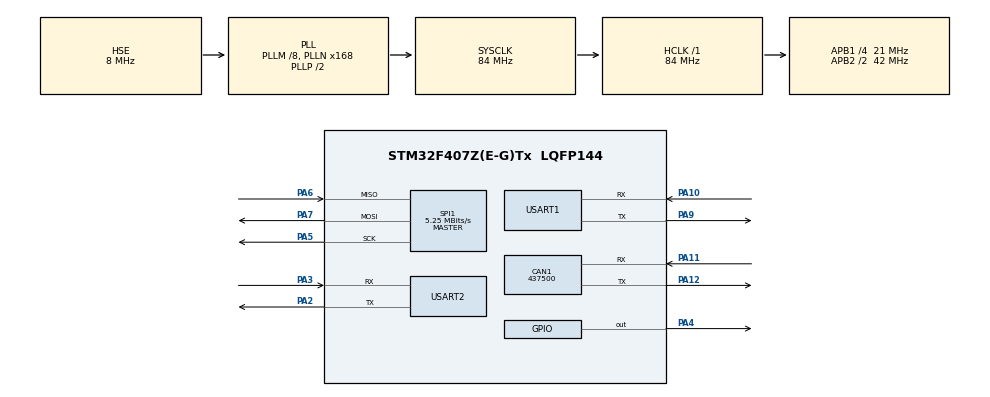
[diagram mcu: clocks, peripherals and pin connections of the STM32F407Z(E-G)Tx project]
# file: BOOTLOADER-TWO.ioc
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CAN1.CalculateBaudRate=437500
CAN1.CalculateTimeBit=2285
CAN1.CalculateTimeQuantum=761.9047619047619
Dma.Request0=SPI1_RX
Dma.Request1=SPI1_TX
Dma.Request2=USART1_RX
Dma.SPI1_RX.0.Direction=DMA_PERIPH_TO_MEMORY
Dma.SPI1_RX.0.FIFOMode=DMA_FIFOMODE_DISABLE
Dma.SPI1_RX.0.Instance=DMA2_Stream0
Dma.SPI1_RX.0.MemDataAlignment=DMA_MDATAALIGN_BYTE
Dma.SPI1_RX.0.MemInc=DMA_MINC_ENABLE
Dma.SPI1_RX.0.Mode=DMA_NORMAL
Dma.SPI1_RX.0.PeriphDataAlignment=DMA_PDATAALIGN_BYTE
Dma.SPI1_RX.0.PeriphInc=DMA_PINC_DISABLE
Dma.SPI1_RX.0.Priority=DMA_PRIORITY_LOW
Dma.SPI1_TX.1.Direction=DMA_MEMORY_TO_PERIPH
Dma.SPI1_TX.1.FIFOMode=DMA_FIFOMODE_DISABLE
Dma.SPI1_TX.1.Instance=DMA2_Stream3
Dma.SPI1_TX.1.MemDataAlignment=DMA_MDATAALIGN_BYTE
Dma.SPI1_TX.1.MemInc=DMA_MINC_ENABLE
Dma.SPI1_TX.1.Mode=DMA_NORMAL
Dma.SPI1_TX.1.PeriphDataAlignment=DMA_PDATAALIGN_BYTE
Dma.SPI1_TX.1.PeriphInc=DMA_PINC_DISABLE
Dma.SPI1_TX.1.Priority=DMA_PRIORITY_LOW
Dma.USART1_RX.2.Direction=DMA_PERIPH_TO_MEMORY
Dma.USART1_RX.2.FIFOMode=DMA_FIFOMODE_ENABLE
Dma.USART1_RX.2.FIFOThreshold=DMA_FIFO_THRESHOLD_3QUARTERSFULL
Dma.USART1_RX.2.Instance=DMA2_Stream2
Dma.USART1_RX.2.MemBurst=DMA_MBURST_SINGLE
Dma.USART1_RX.2.MemDataAlignment=DMA_MDATAALIGN_BYTE
Dma.USART1_RX.2.MemInc=DMA_MINC_ENABLE
Dma.USART1_RX.2.Mode=DMA_NORMAL
Dma.USART1_RX.2.PeriphBurst=DMA_PBURST_SINGLE
Dma.USART1_RX.2.PeriphDataAlignment=DMA_PDATAALIGN_BYTE
Dma.USART1_RX.2.PeriphInc=DMA_PINC_DISABLE
Dma.USART1_RX.2.Priority=DMA_PRIORITY_LOW
Mcu.Family=STM32F4
Mcu.Name=STM32F407Z(E-G)Tx
Mcu.Package=LQFP144
NVIC.CAN1_RX0_IRQn=true\:0\:0\:false\:false\:true\:true\:true\:true
NVIC.DMA2_Stream0_IRQn=true\:0\:0\:false\:false\:true\:false\:true\:true
NVIC.DMA2_Stream2_IRQn=true\:0\:0\:false\:false\:true\:false\:true\:true
NVIC.DMA2_Stream3_IRQn=true\:0\:0\:false\:false\:true\:false\:true\:true
NVIC.PriorityGroup=NVIC_PRIORITYGROUP_4
PA10.Mode=Asynchronous
PA10.Signal=USART1_RX
PA11.Mode=CAN_Activate
PA11.Signal=CAN1_RX
PA12.Mode=CAN_Activate
PA12.Signal=CAN1_TX
PA13.Mode=Serial_Wire
PA13.Signal=SYS_JTMS-SWDIO
PA14.Mode=Serial_Wire
PA14.Signal=SYS_JTCK-SWCLK
PA2.Mode=Asynchronous
PA2.Signal=USART2_TX
PA3.Mode=Asynchronous
PA3.Signal=USART2_RX
PA4.Signal=GPIO_Output
PA5.Mode=Full_Duplex_Master
PA5.Signal=SPI1_SCK
PA6.Mode=Full_Duplex_Master
PA6.Signal=SPI1_MISO
PA7.Mode=Full_Duplex_Master
PA7.Signal=SPI1_MOSI
PA9.Mode=Asynchronous
PA9.Signal=USART1_TX
PC14-OSC32_IN.Mode=LSE-External-Oscillator
PC14-OSC32_IN.Signal=RCC_OSC32_IN
PC15-OSC32_OUT.Mode=LSE-External-Oscillator
PC15-OSC32_OUT.Signal=RCC_OSC32_OUT
PH0-OSC_IN.Mode=HSE-External-Oscillator
PH0-OSC_IN.Signal=RCC_OSC_IN
PH1-OSC_OUT.Mode=HSE-External-Oscillator
PH1-OSC_OUT.Signal=RCC_OSC_OUT
ProjectManager.HeapSize=0x200
ProjectManager.StackSize=0x400
ProjectManager.TargetToolchain=MDK-ARM V5.32
RCC.48MHZClocksFreq_Value=42000000
RCC.AHBFreq_Value=84000000
RCC.APB1CLKDivider=RCC_HCLK_DIV4
RCC.APB1Freq_Value=21000000
RCC.APB1TimFreq_Value=42000000
RCC.APB2CLKDivider=RCC_HCLK_DIV2
RCC.APB2Freq_Value=42000000
RCC.APB2TimFreq_Value=84000000
RCC.CortexFreq_Value=84000000
RCC.HCLKFreq_Value=84000000
RCC.HSE_VALUE=8000000
RCC.HSI_VALUE=16000000
RCC.PLLM=8
RCC.PLLN=168
RCC.PLLSourceVirtual=RCC_PLLSOURCE_HSE
RCC.SYSCLKFreq_VALUE=84000000
RCC.SYSCLKSource=RCC_SYSCLKSOURCE_PLLCLK
RCC.VCOOutputFreq_Value=168000000
SPI1.BaudRatePrescaler=SPI_BAUDRATEPRESCALER_8
SPI1.CalculateBaudRate=5.25 MBits/s
SPI1.Direction=SPI_DIRECTION_2LINES
SPI1.Mode=SPI_MODE_MASTER
SPI1.VirtualType=VM_MASTER
USART1.VirtualMode=VM_ASYNC
USART2.VirtualMode=VM_ASYNC
board=custom

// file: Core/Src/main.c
/* USER CODE BEGIN Header */
/**
  ******************************************************************************
  * @file           : main.c
  * @brief          : Main program body
  ******************************************************************************
  * @attention
  *
  * Copyright (c) 2026 STMicroelectronics.
  * All rights reserved.
  *
  * This software is licensed under terms that can be found in the LICENSE file
  * in the root directory of this software component.
  * If no LICENSE file comes with this software, it is provided AS-IS.
  *
  ******************************************************************************
  */
/* USER CODE END Header */
#include "main.h"
#include "can.h"
#include "dma.h"
#include "spi.h"
#include "usart.h"
#include "gpio.h"

/* USER CODE BEGIN Includes */

#include "W25Q64.h"
#include "Flash.h"

#define APPADDRESS     0x08010000U  // APP向量表起点
#define APP_FLASH_END  0x08100000U
#define SRAM_START     0x20000000U
#define SRAM_END       0x20020000U

/* USER CODE END Includes */

/* USER CODE BEGIN PTD */
typedef void(*pFunction)(void);
// OTA 数据搬运缓冲区：每次从 W25Q64 读取 2048 字节到这里。
// __align(4) 保证缓冲区地址是 4 字节对齐，才能按 uint32_t 写内部 Flash。
__align(4) uint8_t OTA_Buffer[OTA_COPY_BUFFER_SIZE];

void LED()
{
	HAL_GPIO_WritePin(GPIOC,GPIO_PIN_13,GPIO_PIN_SET);
	HAL_Delay(100);
	HAL_GPIO_WritePin(GPIOC,GPIO_PIN_13,GPIO_PIN_SET);
	HAL_Delay(100);
}
/* USER CODE END PTD */

/* USER CODE BEGIN PD */

// r0：APP 的栈顶地址
// r1：APP 的 Reset_Handler 地址
__asm void APP_Start(uint32_t app_msp, uint32_t app_reset)
{
    MSR MSP, r0    // 切换到 APP 的栈
    CPSIE I        // 重新打开全局中断
    BX r1          // 跳到 APP 的 Reset_Handler
}

void HAL_CAN_RxFifo0MsgPendingCallback(CAN_HandleTypeDef *hcan)
{
		if(hcan->Instance == CAN1){

	}
}

void Jump_To_APP(void)
{
    uint32_t app_msp;
    uint32_t app_reset;
    uint32_t reset_address;
    uint32_t index;

    // APP 向量表第一个数据：栈顶地址 MSP
    // APP 向量表第二个数据：Reset_Handler 地址
    app_msp = *(__IO uint32_t *)APPADDRESS;
    app_reset = *(__IO uint32_t *)(APPADDRESS + 4U);

    // Cortex-M 函数地址最低位是 Thumb 标志，
    // 检查地址时先去掉最低位。
    reset_address = app_reset & ~1U;

    // 检查 APP 栈顶是否位于 STM32F407 的 SRAM
    if ((app_msp < SRAM_START) ||
        (app_msp > SRAM_END) ||
        ((app_msp & 0x7U) != 0U))
    {
        return;
    }

    // APP 入口函数最低位必须是 1，
    // 并且入口必须位于 APP 的 Flash 区域。
    if (((app_reset & 1U) == 0U) ||
        (reset_address < APPADDRESS) ||
        (reset_address >= APP_FLASH_END))
    {
        return;
    }

    // 复位 Bootloader 使用过的外设。
    // 例如 GPIO、DMA、CAN、UART、SPI。
    HAL_DeInit();

    // 把系统时钟恢复到复位状态：
    // HSI 作为系统时钟，关闭 PLL。
    // 这里必须放在 __disable_irq() 和关闭 SysTick 之前，
    // 因为 HAL_RCC_DeInit() 内部可能使用 HAL_GetTick() 进行超时判断。
    if (HAL_RCC_DeInit() != HAL_OK)
    {
        return;
    }

    // 清理中断期间先关闭总中断。
    // 最后会在 APP_Start() 中重新打开。
    __disable_irq();

    // 停止并清空 SysTick
    SysTick->CTRL = 0U;
    SysTick->LOAD = 0U;
    SysTick->VAL  = 0U;

    // 清除正在等待的 SysTick 和 PendSV。
    // 只关闭 SysTick 不够，因为它可能已经产生了一个
    // 等待处理的中断。

    SCB->ICSR = SCB_ICSR_PENDSTCLR_Msk |
                SCB_ICSR_PENDSVCLR_Msk;

    // ICER：关闭所有外部中断。
    // ICPR：清除所有正在等待的外部中断。
    // 这里会清理 Bootloader 遗留的 CAN、DMA、
    // UART 等 NVIC 状态。
    for (index = 0U;
         index < (sizeof(NVIC->ICER) / sizeof(NVIC->ICER[0]));
         index++)
    {
        NVIC->ICER[index] = 0xFFFFFFFFU;
        NVIC->ICPR[index] = 0xFFFFFFFFU;
    }

    // 把中断向量表切换到 APP。
    // 不设置它的话，APP 发生中断时，
    // CPU 可能还会使用 Bootloader 的中断函数。
    SCB->VTOR = APPADDRESS;

    // 清除 Bootloader 可能留下的其他中断屏蔽状态。
    __set_BASEPRI(0U);
    __set_FAULTMASK(0U);
    __set_CONTROL(0U);

    // 确保前面的寄存器操作真正生效后再跳转。
    __DSB();
    __ISB();

    // 设置 APP 栈顶，重新打开中断，
    // 直接进入 APP Reset_Handler。
    APP_Start(app_msp, app_reset);

    // 正常情况下不会执行到这里
    while (1)
    {
		LED();
    }
}

// void Jump_To_APP()
// {
//	uint32_t Jumpaddress;
//	pFunction JumpToAPPLoction;
//
//	if(((*(__IO uint32_t *)(APPADDRESS)) & 0x2FFE0000) == 0x20000000){
//		Jumpaddress = *(__IO uint32_t *)(APPADDRESS + 4);
//		JumpToAPPLoction = (pFunction)Jumpaddress;
//		HAL_DeInit();
//		SysTick->CTRL = 0;
//		SysTick->LOAD = 0;
//		SysTick->VAL = 0;
//		__disable_irq();
//
//		__set_MSP(*(__IO uint32_t *)(APPADDRESS));
//
//		JumpToAPPLoction();
//	}
// }

void CAN_Filter_Config()
{
	CAN_FilterTypeDef sFilterConfig;

	sFilterConfig.FilterBank = 0;
    sFilterConfig.FilterMode = CAN_FILTERMODE_IDMASK;
    sFilterConfig.FilterScale = CAN_FILTERSCALE_32BIT;
    sFilterConfig.FilterIdHigh = 0x0000;
    sFilterConfig.FilterIdLow = 0x0000;
    sFilterConfig.FilterMaskIdHigh = 0x0000;
    sFilterConfig.FilterMaskIdLow = 0x0000;
    sFilterConfig.FilterFIFOAssignment = CAN_RX_FIFO0;
    sFilterConfig.FilterActivation = ENABLE;
    sFilterConfig.SlaveStartFilterBank = 14;

	if((HAL_CAN_ConfigFilter(&hcan1,&sFilterConfig)) != HAL_OK){
		Error_Handler();

	}
	if((HAL_CAN_Start(&hcan1)) != HAL_OK){
		Error_Handler();
	}

	if((HAL_CAN_ActivateNotification(&hcan1,CAN_IT_RX_FIFO0_MSG_PENDING)) != HAL_OK){
		Error_Handler();
	}

}
/* USER CODE END PD */

void SystemClock_Config(void);

/* USER CODE BEGIN 0 */

static uint8_t OTA_AppVectorIsValid(void)
{
	uint32_t app_msp = *(__IO uint32_t *)APPADDRESS;
	uint32_t app_reset = *(__IO uint32_t *)(APPADDRESS + 4U);
	uint32_t reset_address = app_reset & ~1U;

	if ((app_msp < SRAM_START) || (app_msp > SRAM_END) ||
		((app_msp & 0x7U) != 0U))
	{
		return 0U;
	}

	if (((app_reset & 1U) == 0U) ||
		(reset_address < APPADDRESS) ||
		(reset_address >= APP_FLASH_END))
	{
		return 0U;
	}

	return 1U;
}

// 仅在内部旧 APP 仍完整时使用：取消本次升级并保留当前 APP。
static uint8_t OTA_CancelUpdate(void)
{
	// 先清升级请求，再清状态；任一步掉电，下一次启动仍会重复安全清理。
	if (W25Q_EraseSector(W25Q64_OTA_Data_ADD) == 0U)
	{
		return 0U;
	}
	return OTA_StateReset();
}

// 进入 ROLLBACK 后，即使恢复过程中再次掉电，下一次启动也会重新恢复，
// 直到内部 Flash 的整包 CRC 与备份一致。
static uint8_t OTA_PerformRollback(uint32_t current_state)
{
	if ((current_state != OTA_STATE_ROLLBACK) &&
		(OTA_StateAppend(OTA_STATE_ROLLBACK) == 0U))
	{
		return 0U;
	}

	if (OTA_RestoreBackup() == 0U)
	{
		return 0U;
	}

	if (W25Q_EraseSector(W25Q64_OTA_Data_ADD) == 0U)
	{
		return 0U;
	}

	return OTA_StateAppend(OTA_STATE_ROLLBACK_DONE);
}

/* USER CODE END 0 */

int main(void)
{

  /* USER CODE BEGIN 1 */
  // 保存 OTA_Data_Read() 解析出的 BIN 大小和固件版本号。
	OTA_Info_t ota_info;
	uint32_t ota_boot_state = OTA_STATE_NONE;

  /* USER CODE END 1 */

  /* MCU Configuration--------------------------------------------------------*/

  /* Reset of all peripherals, Initializes the Flash interface and the Systick. */
  HAL_Init();

  /* Configure the system clock */
  SystemClock_Config();

  /* Initialize all configured peripherals */
  MX_GPIO_Init();
  MX_DMA_Init();
  MX_CAN1_Init();
  MX_SPI1_Init();
  MX_USART1_UART_Init();
  MX_USART2_UART_Init();
  /* USER CODE BEGIN 2 */
	// 状态日志读取失败时不执行任何擦除，优先尝试保留当前 APP。
	if (OTA_StateRead(&ota_boot_state) == 0U)
	{
		Jump_To_APP();
		while (1) { LED(); }
	}

	// 新 APP 已确认：清理旧事务状态，然后仍允许处理下一次新升级。
	if (ota_boot_state == OTA_STATE_CONFIRMED)
	{
		if ((OTA_VersionConfirmPending() == 0U) ||
			(OTA_StateReset() == 0U))
		{
			while (1) { LED(); }
		}
		ota_boot_state = OTA_STATE_NONE;
	}

	// 回滚已经完成：先清升级请求，再清状态，随后运行恢复出的旧 APP。
	if (ota_boot_state == OTA_STATE_ROLLBACK_DONE)
	{
		if (OTA_CancelUpdate() != 0U)
		{
			Jump_To_APP();
		}
		while (1) { LED(); }
	}

	// 备份阶段掉电时内部 APP 尚未擦除，取消升级并直接保留旧 APP。
	if ((ota_boot_state == OTA_STATE_BACKUPING) ||
		(ota_boot_state == OTA_STATE_BACKUP_READY))
	{
		if (OTA_CancelUpdate() != 0U)
		{
			Jump_To_APP();
		}
		while (1) { LED(); }
	}

	// 第一次试运行新 APP：先记录 BOOTING，若确认前再次复位就回滚。
	if (ota_boot_state == OTA_STATE_PENDING_CONFIRM)
	{
		if ((OTA_AppVectorIsValid() != 0U) &&
			(OTA_StateAppend(OTA_STATE_BOOTING) != 0U))
		{
			Jump_To_APP();
		}

		if (OTA_PerformRollback(OTA_STATE_PENDING_CONFIRM) != 0U)
		{
			NVIC_SystemReset();
		}
		while (1) { LED(); }
	}

	// 安装、试运行或回滚过程中掉电：始终从有效备份重新恢复旧 APP。
	if ((ota_boot_state == OTA_STATE_INSTALLING) ||
		(ota_boot_state == OTA_STATE_BOOTING) ||
		(ota_boot_state == OTA_STATE_ROLLBACK))
	{
		if (OTA_PerformRollback(ota_boot_state) != 0U)
		{
			NVIC_SystemReset();
		}
		while (1) { LED(); }
	}

	// 没有未完成事务时，才允许识别并开始一次全新的升级。
	if ((ota_boot_state == OTA_STATE_NONE) &&
		(OTA_Data_Read(&ota_info) != 0U))
	{
		// 擦状态扇区发生在内部旧 APP 仍完整的时候，掉电也可以安全重来。
		if ((OTA_StateReset() == 0U) ||
			(OTA_StateAppend(OTA_STATE_BACKUPING) == 0U))
		{
			while (1) { LED(); }
		}

		// 备份失败时内部 APP 未被擦除，清理请求后继续运行旧 APP。
		if ((OTA_BackupCurrentApp() == 0U) ||
			(OTA_StateAppend(OTA_STATE_BACKUP_READY) == 0U) ||
			(OTA_StateAppend(OTA_STATE_INSTALLING) == 0U))
		{
			if (OTA_CancelUpdate() != 0U)
			{
				Jump_To_APP();
			}
			while (1) { LED(); }
		}

		// INSTALLING 已经落盘；此后的任何失败都必须走回滚，不能直接跳 APP。
		if ((OTA_CopyToFlash(&ota_info) == 0U) ||
			(OTA_VerifyInternalFlashCrc32(OTA_APP_ADDRESS,
											ota_info.bin_size,
											ota_info.image_crc32) == 0U) ||
			(W25Q_EraseSector(W25Q64_OTA_Data_ADD) == 0U) ||
			(OTA_StateAppend(OTA_STATE_PENDING_CONFIRM) == 0U))
		{
			if (OTA_PerformRollback(OTA_STATE_INSTALLING) != 0U)
			{
				NVIC_SystemReset();
			}
			while (1) { LED(); }
		}

		// 下一次 Bootloader 启动会给新 APP 一次确认机会。
		NVIC_SystemReset();
	}

  Jump_To_APP();
  /* USER CODE END 2 */

  /* Infinite loop */
  while (1)
  {

  }
}

void SystemClock_Config(void)
{
  RCC_OscInitTypeDef RCC_OscInitStruct = {0};
  RCC_ClkInitTypeDef RCC_ClkInitStruct = {0};

  /** Configure the main internal regulator output voltage
  */
  __HAL_RCC_PWR_CLK_ENABLE();
  __HAL_PWR_VOLTAGESCALING_CONFIG(PWR_REGULATOR_VOLTAGE_SCALE1);

  /** Initializes the RCC Oscillators according to the specified parameters
  * in the RCC_OscInitTypeDef structure.
  */
  RCC_OscInitStruct.OscillatorType = RCC_OSCILLATORTYPE_HSE;
  RCC_OscInitStruct.HSEState = RCC_HSE_ON;
  RCC_OscInitStruct.PLL.PLLState = RCC_PLL_ON;
  RCC_OscInitStruct.PLL.PLLSource = RCC_PLLSOURCE_HSE;
  RCC_OscInitStruct.PLL.PLLM = 8;
  RCC_OscInitStruct.PLL.PLLN = 168;
  RCC_OscInitStruct.PLL.PLLP = RCC_PLLP_DIV2;
  RCC_OscInitStruct.PLL.PLLQ = 4;
  if (HAL_RCC_OscConfig(&RCC_OscInitStruct) != HAL_OK)
  {
    Error_Handler();
  }

  /** Initializes the CPU, AHB and APB buses clocks
  */
  RCC_ClkInitStruct.ClockType = RCC_CLOCKTYPE_HCLK|RCC_CLOCKTYPE_SYSCLK
                              |RCC_CLOCKTYPE_PCLK1|RCC_CLOCKTYPE_PCLK2;
  RCC_ClkInitStruct.SYSCLKSource = RCC_SYSCLKSOURCE_PLLCLK;
  RCC_ClkInitStruct.AHBCLKDivider = RCC_SYSCLK_DIV1;
  RCC_ClkInitStruct.APB1CLKDivider = RCC_HCLK_DIV4;
  RCC_ClkInitStruct.APB2CLKDivider = RCC_HCLK_DIV2;

  if (HAL_RCC_ClockConfig(&RCC_ClkInitStruct, FLASH_LATENCY_2) != HAL_OK)
  {
    Error_Handler();
  }
}

void Error_Handler(void)
{
  __disable_irq();
  while (1)
  {
  }
}
